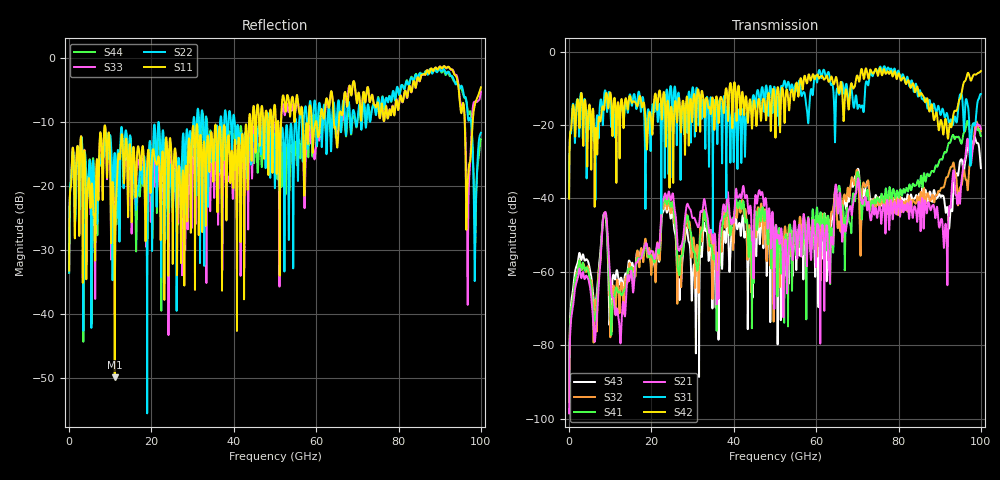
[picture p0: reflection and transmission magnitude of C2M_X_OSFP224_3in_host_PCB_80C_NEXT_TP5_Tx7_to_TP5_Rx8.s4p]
# GHz S RI R 45
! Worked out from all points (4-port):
!   4000 points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, 25 MHz to 100 GHz, reference 45 ohm
!   strongest paths, dB at 25 MHz, 25.02 GHz, 50.02 GHz, 75.03 GHz, 100 GHz:
!     S42: -40.1, -17.0, -19.2, -6.6, -5.3
!     S31: -39.7, -15.6, -10.6, -5.9, -11.5
!     S21: -98.6, -39.0, -52.3, -43.9, -21.0
!     S41: -95.5, -41.2, -50.5, -39.9, -23.0
!     S32: -94.9, -41.1, -48.5, -40.5, -21.7
!     S43: -93.2, -43.8, -49.4, -41.5, -31.7
!   lowest |S11| = -49.8 dB at 11.1 GHz (marker M1), VSWR 1.01, Z = 44.9 + j0.285 ohm
!   |S11| at or under -10 dB: start of sweep to 43.7 GHz; 56.74 GHz to 58.18 GHz (1.445 GHz wide, 2.51 % of centre); 96.08 GHz to 98 GHz (1.925 GHz wide, 1.98 % of centre) (the widest 3 of 14)
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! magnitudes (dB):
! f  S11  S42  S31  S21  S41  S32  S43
! 25 MHz  -33.1  -40.1  -39.7  -98.6  -95.5  -94.9  -93.2
! 8.675 GHz  -10.4  -14.2  -10.7  -43.8  -44.0  -43.8  -44.3
! 11.1 GHz  -49.8  -12.7  -21.6  -70.2  -66.2  -67.5  -62.0
! 23.82 GHz  -14.1  -14.3  -10.6  -40.2  -41.5  -43.0  -43.8
! 36.02 GHz  -23.7  -13.7  -25.2  -60.6  -61.8  -55.0  -57.4
! 91.47 GHz  -1.5  -18.4  -17.4  -47.1  -27.5  -34.7  -43.9
! 100 GHz  -4.5  -5.3  -11.5  -21.0  -23.0  -21.7  -31.7
